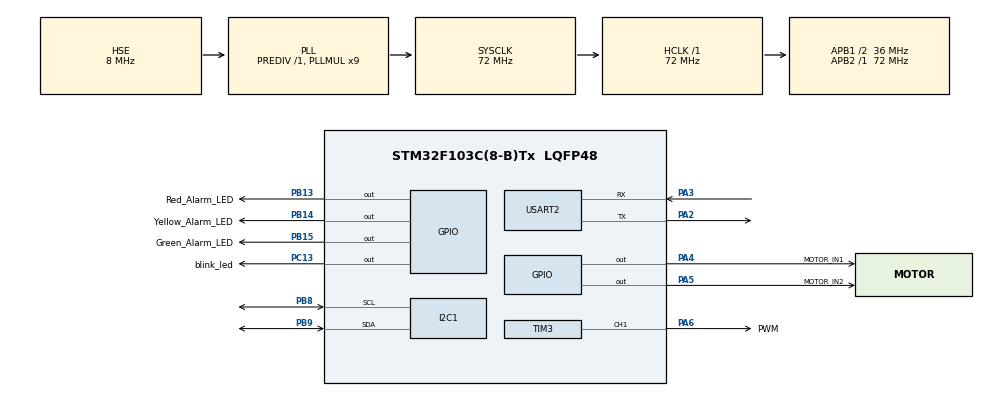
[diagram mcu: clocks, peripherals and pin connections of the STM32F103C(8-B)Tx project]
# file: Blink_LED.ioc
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Dma.Request0=USART2_RX
Dma.USART2_RX.0.Direction=DMA_PERIPH_TO_MEMORY
Dma.USART2_RX.0.Instance=DMA1_Channel6
Dma.USART2_RX.0.MemDataAlignment=DMA_MDATAALIGN_BYTE
Dma.USART2_RX.0.MemInc=DMA_MINC_ENABLE
Dma.USART2_RX.0.Mode=DMA_NORMAL
Dma.USART2_RX.0.PeriphDataAlignment=DMA_PDATAALIGN_BYTE
Dma.USART2_RX.0.PeriphInc=DMA_PINC_DISABLE
Dma.USART2_RX.0.Priority=DMA_PRIORITY_LOW
Mcu.Family=STM32F1
Mcu.Name=STM32F103C(8-B)Tx
Mcu.Package=LQFP48
NVIC.DMA1_Channel6_IRQn=true\:0\:0\:false\:false\:true\:false\:true\:true
NVIC.PriorityGroup=NVIC_PRIORITYGROUP_4
NVIC.USART2_IRQn=true\:2\:0\:true\:false\:true\:true\:true\:true
PA13.Mode=Serial_Wire
PA13.Signal=SYS_JTMS-SWDIO
PA14.Mode=Serial_Wire
PA14.Signal=SYS_JTCK-SWCLK
PA2.Mode=Asynchronous
PA2.Signal=USART2_TX
PA3.Mode=Asynchronous
PA3.Signal=USART2_RX
PA4.GPIO_Label=MOTOR_IN1
PA4.Signal=GPIO_Output
PA5.GPIO_Label=MOTOR_IN2
PA5.Signal=GPIO_Output
PA6.GPIO_Label=PWM
PA6.Signal=S_TIM3_CH1
PB13.GPIO_Label=Red_Alarm_LED
PB13.GPIO_PuPd=GPIO_NOPULL
PB13.PinState=GPIO_PIN_RESET
PB13.Signal=GPIO_Output
PB14.GPIO_Label=Yellow_Alarm_LED
PB14.GPIO_PuPd=GPIO_NOPULL
PB14.PinState=GPIO_PIN_RESET
PB14.Signal=GPIO_Output
PB15.GPIO_Label=Green_Alarm_LED
PB15.Signal=GPIO_Output
PB8.Mode=I2C
PB8.Signal=I2C1_SCL
PB9.Mode=I2C
PB9.Signal=I2C1_SDA
PC13-TAMPER-RTC.GPIO_Label=blink_led
PC13-TAMPER-RTC.PinState=GPIO_PIN_SET
PC13-TAMPER-RTC.Signal=GPIO_Output
PD0-OSC_IN.Mode=HSE-External-Oscillator
PD0-OSC_IN.Signal=RCC_OSC_IN
PD1-OSC_OUT.Mode=HSE-External-Oscillator
PD1-OSC_OUT.Signal=RCC_OSC_OUT
ProjectManager.HeapSize=0x200
ProjectManager.StackSize=0x400
ProjectManager.TargetToolchain=STM32CubeIDE
RCC.AHBFreq_Value=72000000
RCC.APB1CLKDivider=RCC_HCLK_DIV2
RCC.APB1Freq_Value=36000000
RCC.APB1TimFreq_Value=72000000
RCC.APB2Freq_Value=72000000
RCC.APB2TimFreq_Value=72000000
RCC.HCLKFreq_Value=72000000
RCC.PLLMUL=RCC_PLL_MUL9
RCC.PLLSourceVirtual=RCC_PLLSOURCE_HSE
RCC.SYSCLKFreq_VALUE=72000000
RCC.SYSCLKSource=RCC_SYSCLKSOURCE_PLLCLK
RCC.USBFreq_Value=72000000
SH.S_TIM3_CH1.0=TIM3_CH1,PWM Generation1 CH1
TIM2.Prescaler=71
TIM3.Channel-PWM\ Generation1\ CH1=TIM_CHANNEL_1
TIM3.Period=999
TIM3.Prescaler=719
USART2.VirtualMode=VM_ASYNC
VP_TIM2_VS_ClockSourceINT.Mode=Internal
VP_TIM3_VS_ClockSourceINT.Mode=Internal
board=custom

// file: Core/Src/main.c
/* USER CODE BEGIN Header */
/**
  ******************************************************************************
  * @file           : main.c
  * @brief          : Main program body
  ******************************************************************************
  * @attention
  *
  * <h2><center>&copy; Copyright (c) 2023 STMicroelectronics.
  * All rights reserved.</center></h2>
  *
  * This software component is licensed by ST under BSD 3-Clause license,
  * the "License"; You may not use this file except in compliance with the
  * License. You may obtain a copy of the License at:
  *                        opensource.org/licenses/BSD-3-Clause
  *
  ******************************************************************************
  */
/* USER CODE END Header */
#include "main.h"

/* USER CODE BEGIN Includes */
#include <string.h>
#include <stdio.h>
#include "dht.h"
#include "delay_timer.h"
#include "LiquidCrystal_I2C.h"
#include "uart_handle.h"
#include "dc_motor.h"

#include "handle.h"
#include "task.h"
/* USER CODE END Includes */

/* USER CODE BEGIN PM */
#define GPIO_PORT_DHT11 GPIOC
#define GPIO_PIN_DHT11 GPIO_PIN_15

/* USER CODE END PM */

I2C_HandleTypeDef hi2c1;

TIM_HandleTypeDef htim2;
TIM_HandleTypeDef htim3;

UART_HandleTypeDef huart2;
DMA_HandleTypeDef hdma_usart2_rx;

/* USER CODE BEGIN PV */

LiquidCrystal_I2C hlcd;
DHT_HandleTypeDef DHT11;
DC_Motor_HandleTypeDef MOTOR_1;

int8_t Temp_levels[NUMBER_LEVELS + 1];
uint8_t RHumi_levels[NUMBER_LEVELS + 1];

uint8_t Speed_Temp_mode[NUMBER_LEVELS] = {0};
uint8_t Speed_RHumi_mode[NUMBER_LEVELS] = {0};
//uint8_t Speed_Manual_mode = 0;	// %

MODE controll_mode = MANUAL_MODE;

volatile char Rx_data[RX_DATA_SIZE];
//uint8_t Rx_data_begin = 0;
//uint8_t Rx_data_end = 0;
/* USER CODE END PV */

void SystemClock_Config(void);
static void MX_GPIO_Init(void);
static void MX_DMA_Init(void);
static void MX_TIM2_Init(void);
static void MX_I2C1_Init(void);
static void MX_TIM3_Init(void);
static void MX_USART2_UART_Init(void);

/* USER CODE BEGIN 0 */
//uint8_t data_rx;
//char buff[RX_DATA_SIZE];
int16_t ret = 0;

uint32_t time = 0; //test time

void HW_init(int delay) {
	HAL_Delay(delay);
}

void (*task_point_array_1[]) () = {TASK_2, TASK_5, TASK_1, TASK_2, TASK_3, TASK_4, TASK_2, TASK_5, TASK_2};
const uint16_t tk1[] = {0,50,100,150,200,250,300,350,450};
void (*task_point_array_2[]) () = {TASK_2, TASK_5, TASK_2, TASK_2, TASK_5, TASK_2};
const uint16_t tk2[] = {0,50,150,300,350,450};
const uint16_t P = 6000; // f = 50 ms
const uint16_t p = 600;
const uint8_t n1 = 9;
const uint8_t n2 = 6;
static uint32_t i_1 = 0;
static uint32_t i_2 = 0;

//void HAL_UART_RxCpltCallback(UART_HandleTypeDef *huart) {
//
////	if (data_rx == 'a') {
////		HAL_GPIO_WritePin(LED_PIN_GPIO_Port, LED_PIN_Pin, GPIO_PIN_SET);
////	} else if (data_rx == 'b') {
////		HAL_GPIO_WritePin(LED_PIN_GPIO_Port, LED_PIN_Pin, GPIO_PIN_RESET);
////	}
//
//	HAL_UART_Receive_IT(&huart2, &data_rx, 1);
//}

//void HAL_UART_RxHalfCpltCallback(UART_HandleTypeDef *huart)
//{
//  HAL_GPIO_TogglePin (blink_led_GPIO_Port, blink_led_Pin);  // toggle PA0
//}
//
//void HAL_UART_RxCpltCallback(UART_HandleTypeDef *huart)
//{
//
//  HAL_UART_Receive_DMA(&huart2, (uint8_t *) Rx_data, RX_DATA_SIZE);
//  HAL_UART_Transmit(&huart2,(uint8_t* )Rx_data, strlen((char *)Rx_data), 30 );
//}

/* USER CODE END 0 */

int main(void)
{
  /* USER CODE BEGIN 1 */
	Temp_levels[0] = DHT11_MIN_TEMPERATURE;
	Temp_levels[NUMBER_LEVELS] = DHT11_MAX_TEMPERATURE;

	RHumi_levels[0] = DHT11_MIN_RELATIVE_HUMIDITY;
	RHumi_levels[NUMBER_LEVELS] = DHT11_MAX_RELATIVE_HUMIDITY;

  /* USER CODE END 1 */

  /* MCU Configuration--------------------------------------------------------*/

  /* Reset of all peripherals, Initializes the Flash interface and the Systick. */
  HAL_Init();

  /* Configure the system clock */
  SystemClock_Config();

  /* Initialize all configured peripherals */
  MX_GPIO_Init();
  MX_DMA_Init();
  MX_TIM2_Init();
  MX_I2C1_Init();
  MX_TIM3_Init();
  MX_USART2_UART_Init();
  /* USER CODE BEGIN 2 */

  HAL_TIM_PWM_Start(&htim3,TIM_CHANNEL_1);
  HAL_UART_Receive_DMA(&huart2, (uint8_t *)Rx_data, RX_DATA_SIZE);

  DHT_Init(&DHT11, &htim2, GPIO_PORT_DHT11, GPIO_PIN_DHT11);
  lcd_init(&hlcd, &hi2c1, LCD_ADDR_DEFAULT);
  DC_Motor_Init(&MOTOR_1, &htim3,TIM_CHANNEL_1, MOTOR_IN1_GPIO_Port, MOTOR_IN1_Pin, MOTOR_IN2_GPIO_Port, MOTOR_IN2_Pin);
  HW_init(2000);

  /* USER CODE END 2 */

  /* Infinite loop */
  /* USER CODE BEGIN WHILE */
  const uint32_t offset = uwTick;
  while (1)
  {
//	  time = HAL_GetTick();
//	  ret = DHT_ReadTempHum(&DHT11);
//	  encoder_cnt = htim1.Instance->CNT;
//	  if(ret) {
//		  sprintf(buff, " Error Code: %d\n Encoder Count = %d\n", ret, encoder_cnt);
//		  HAL_UART_Transmit(&huart2,(uint8_t* )buff, strlen(buff), 300 );
//
//	  } else {
//		  sprintf(buff, "Read OK\n Temp: %f\n Humi: %f Time: %ld\n", DHT11.Temp, DHT11.Humi, HAL_GetTick() - time);
//		  HAL_UART_Transmit(&huart2,(uint8_t* )buff, strlen(buff), 300 );
//
//		  sprintf(buff, " Encoder Count = %d\n", encoder_cnt);
//		  		  HAL_UART_Transmit(&huart2,(uint8_t* )buff, strlen(buff), 300 );
//
//		  sprintf(buff, " Raw Data: %d %d %d %d %d\n", DHT11.raw_data[0], DHT11.raw_data[1], DHT11.raw_data[2], DHT11.raw_data[3], DHT11.raw_data[4]);
//		  HAL_UART_Transmit(&huart2,(uint8_t* )buff, strlen(buff), 300 );
//	  }
//
//	  lcd_set_cursor(&hlcd, 0, 0);//(char)223,
////	  lcd_printf(&hlcd, "RH=%d.%1d%c T=%d.%1d%C", DHT11.raw_data[0], DHT11.raw_data[1],  (char)223,DHT11.raw_data[2], DHT11.raw_data[3] );
//	  lcd_printf(&hlcd, "RH=%d%% T=%d%c%C", DHT11.raw_data[0], DHT11.raw_data[2], (char)223 );
//	  lcd_set_cursor(&hlcd, 1,4);
//	  lcd_printf(&hlcd, "%02d/%02d/%02d", 12, 12, 12);
//
//	  HAL_GPIO_WritePin(GPIOA, GPIO_PIN_4, GPIO_PIN_RESET);
//	  HAL_GPIO_WritePin(GPIOA, GPIO_PIN_5, GPIO_PIN_SET);
////	  for(int i=0;i<1000;i=i+100)
////	    {
////	      __HAL_TIM_SetCompare(&htim3,TIM_CHANNEL_1,i);
////	      HAL_Delay(2000);
////	     }
//	  __HAL_TIM_SetCompare(&htim3,TIM_CHANNEL_1,999);
//	  TIM_DelayMs(&htim2, 2000);

//	  do {
//		  lcd_set_cursor(&hlcd, 0, 0);
//		  lcd_printf(&hlcd, "TEMPERATURE:%d%cC", 12, (char)223);
//		  lcd_set_cursor(&hlcd, 1, 0);
//		  lcd_printf(&hlcd, "R_HUMIDITY : %d%%", 95);
//		  HAL_Delay(2000);
//		  time = HAL_GetTick();
//		  lcd_clear_display(&hlcd);
//		  sprintf(buff, " TIME EXE: %ld\n", HAL_GetTick()-time);
//		  HAL_UART_Transmit(&huart2,(uint8_t* )buff, strlen(buff), 300 );
//
//		  uint32_t uart_time = HAL_GetTick();
//		  sprintf(buff, " As you can see above that when the control will\n");
//		  HAL_UART_Transmit(&huart2,(uint8_t* )buff, strlen(buff), 30 );
//		  sprintf(buff, " uart TIME EXE: %ld\n", HAL_GetTick()-uart_time);
//		  HAL_UART_Transmit(&huart2,(uint8_t* )buff, strlen(buff), 300 );
//		  HAL_Delay(1000);
//	  } while (0);

//	  do {
//		 int flag = 0;
//		 for (int8_t i = Rx_data_begin, cnt = 0; cnt < RX_DATA_SIZE; cnt ++, i++) {
//			if(Rx_data[i] == '\n') {
//				Rx_data_end = i;
//				flag = 1;	//
//				break;
//			}
//
//			if (i == RX_DATA_SIZE-1) {
//				i = -1;
//			}
//		}
//		if(flag) {
//			for (int8_t i = Rx_data_begin, cnt = 0, j = 0; cnt < RX_DATA_SIZE; cnt ++, i++, j++) {
//				buff[j] = Rx_data[i];
//				if(i == Rx_data_end) {
//					Rx_data[i] = 0;
//					buff[j+1] = '\0';
//					HAL_UART_Transmit(&huart2, (uint8_t *)buff, strlen(buff),30);
//
//					if (i == RX_DATA_SIZE-1) {
//						Rx_data_begin = 0;
//					} else {
//						Rx_data_begin = Rx_data_end + 1;
//					}
//					break;
//				}
//
//				if (i == RX_DATA_SIZE-1) {
//					i = -1;
//				}
//			 }
//			flag = 0;
//		}
//
//	 } while (0);

//	  do{
//		  ret = Check_Commad((char *)Rx_data, &Rx_data_begin, &Rx_data_end, RX_DATA_SIZE);
//		  if (ret == HANDLE_OK) {
//			  Handle_Command((char *)Rx_data, &Rx_data_begin, &Rx_data_end, RX_DATA_SIZE);
//		  }
//
//	  } while(0);

//	 HAL_Delay (5000);
//	 HAL_UART_DMAStop(&huart2);
//	 HAL_GPIO_WritePin(blink_led_GPIO_Port, blink_led_Pin, GPIO_PIN_SET);
//	 HAL_Delay (1000);
//	 if(Rx_data[RX_DATA_SIZE-1]) {
//		 HAL_UART_Receive_DMA(&huart2, (uint8_t *) Rx_data, RX_DATA_SIZE);
//		 HAL_GPIO_WritePin(blink_led_GPIO_Port, blink_led_Pin, GPIO_PIN_RESET);
//	 } //
//	  MOTOR_1.speed = 50;

//	  HAL_Delay (5000);
//	  TASK_2((char *)Rx_data);
//	  TASK_1();
//	  TASK_5();
//	  HAL_GPIO_WritePin(GPIOA, GPIO_PIN_4, 0);
//	  HAL_GPIO_WritePin(GPIOA, GPIO_PIN_5, 1);
//	  __HAL_TIM_SetCompare(&htim3,TIM_CHANNEL_1,999);
//	  TASK_3();
//	  TASK_4();
//	  HAL_Delay(2000);

//	  if (controll_mode == 2 || MOTOR_1.setSpeed > 50) {
//		HAL_GPIO_WritePin(GPIOC, GPIO_PIN_13, 0);
//	} else {
//		HAL_GPIO_WritePin(GPIOC, GPIO_PIN_13, 1);
//	}
//	  HAL_Delay(150);

	if ((uwTick-offset)%P < p) {
		if ((uwTick-offset) % p == tk1[i_1 % n1] ) {
			task_point_array_1[i_1 % n1]();
			i_1++;
		}
	} else {
		if ((uwTick-offset) % p == tk2[i_2 % n2] ) {
			task_point_array_2[i_2 % n2]();
			i_2++;
		}
	}

    /* USER CODE END WHILE */

  }
}

void SystemClock_Config(void)
{
  RCC_OscInitTypeDef RCC_OscInitStruct = {0};
  RCC_ClkInitTypeDef RCC_ClkInitStruct = {0};

  /** Initializes the RCC Oscillators according to the specified parameters
  * in the RCC_OscInitTypeDef structure.
  */
  RCC_OscInitStruct.OscillatorType = RCC_OSCILLATORTYPE_HSE;
  RCC_OscInitStruct.HSEState = RCC_HSE_ON;
  RCC_OscInitStruct.HSEPredivValue = RCC_HSE_PREDIV_DIV1;
  RCC_OscInitStruct.HSIState = RCC_HSI_ON;
  RCC_OscInitStruct.PLL.PLLState = RCC_PLL_ON;
  RCC_OscInitStruct.PLL.PLLSource = RCC_PLLSOURCE_HSE;
  RCC_OscInitStruct.PLL.PLLMUL = RCC_PLL_MUL9;
  if (HAL_RCC_OscConfig(&RCC_OscInitStruct) != HAL_OK)
  {
    Error_Handler();
  }

  /** Initializes the CPU, AHB and APB buses clocks
  */
  RCC_ClkInitStruct.ClockType = RCC_CLOCKTYPE_HCLK|RCC_CLOCKTYPE_SYSCLK
                              |RCC_CLOCKTYPE_PCLK1|RCC_CLOCKTYPE_PCLK2;
  RCC_ClkInitStruct.SYSCLKSource = RCC_SYSCLKSOURCE_PLLCLK;
  RCC_ClkInitStruct.AHBCLKDivider = RCC_SYSCLK_DIV1;
  RCC_ClkInitStruct.APB1CLKDivider = RCC_HCLK_DIV2;
  RCC_ClkInitStruct.APB2CLKDivider = RCC_HCLK_DIV1;

  if (HAL_RCC_ClockConfig(&RCC_ClkInitStruct, FLASH_LATENCY_2) != HAL_OK)
  {
    Error_Handler();
  }
}

static void MX_I2C1_Init(void)
{

  hi2c1.Instance = I2C1;
  hi2c1.Init.ClockSpeed = 100000;
  hi2c1.Init.DutyCycle = I2C_DUTYCYCLE_2;
  hi2c1.Init.OwnAddress1 = 0;
  hi2c1.Init.AddressingMode = I2C_ADDRESSINGMODE_7BIT;
  hi2c1.Init.DualAddressMode = I2C_DUALADDRESS_DISABLE;
  hi2c1.Init.OwnAddress2 = 0;
  hi2c1.Init.GeneralCallMode = I2C_GENERALCALL_DISABLE;
  hi2c1.Init.NoStretchMode = I2C_NOSTRETCH_DISABLE;
  if (HAL_I2C_Init(&hi2c1) != HAL_OK)
  {
    Error_Handler();
  }

}

static void MX_TIM2_Init(void)
{

  TIM_ClockConfigTypeDef sClockSourceConfig = {0};
  TIM_MasterConfigTypeDef sMasterConfig = {0};

  htim2.Instance = TIM2;
  htim2.Init.Prescaler = 71;
  htim2.Init.CounterMode = TIM_COUNTERMODE_UP;
  htim2.Init.Period = 65535;
  htim2.Init.ClockDivision = TIM_CLOCKDIVISION_DIV1;
  htim2.Init.AutoReloadPreload = TIM_AUTORELOAD_PRELOAD_DISABLE;
  if (HAL_TIM_Base_Init(&htim2) != HAL_OK)
  {
    Error_Handler();
  }
  sClockSourceConfig.ClockSource = TIM_CLOCKSOURCE_INTERNAL;
  if (HAL_TIM_ConfigClockSource(&htim2, &sClockSourceConfig) != HAL_OK)
  {
    Error_Handler();
  }
  sMasterConfig.MasterOutputTrigger = TIM_TRGO_RESET;
  sMasterConfig.MasterSlaveMode = TIM_MASTERSLAVEMODE_DISABLE;
  if (HAL_TIMEx_MasterConfigSynchronization(&htim2, &sMasterConfig) != HAL_OK)
  {
    Error_Handler();
  }

}

static void MX_TIM3_Init(void)
{

  TIM_ClockConfigTypeDef sClockSourceConfig = {0};
  TIM_MasterConfigTypeDef sMasterConfig = {0};
  TIM_OC_InitTypeDef sConfigOC = {0};

  htim3.Instance = TIM3;
  htim3.Init.Prescaler = 719;
  htim3.Init.CounterMode = TIM_COUNTERMODE_UP;
  htim3.Init.Period = 999;
  htim3.Init.ClockDivision = TIM_CLOCKDIVISION_DIV1;
  htim3.Init.AutoReloadPreload = TIM_AUTORELOAD_PRELOAD_DISABLE;
  if (HAL_TIM_Base_Init(&htim3) != HAL_OK)
  {
    Error_Handler();
  }
  sClockSourceConfig.ClockSource = TIM_CLOCKSOURCE_INTERNAL;
  if (HAL_TIM_ConfigClockSource(&htim3, &sClockSourceConfig) != HAL_OK)
  {
    Error_Handler();
  }
  if (HAL_TIM_PWM_Init(&htim3) != HAL_OK)
  {
    Error_Handler();
  }
  sMasterConfig.MasterOutputTrigger = TIM_TRGO_RESET;
  sMasterConfig.MasterSlaveMode = TIM_MASTERSLAVEMODE_DISABLE;
  if (HAL_TIMEx_MasterConfigSynchronization(&htim3, &sMasterConfig) != HAL_OK)
  {
    Error_Handler();
  }
  sConfigOC.OCMode = TIM_OCMODE_PWM1;
  sConfigOC.Pulse = 0;
  sConfigOC.OCPolarity = TIM_OCPOLARITY_HIGH;
  sConfigOC.OCFastMode = TIM_OCFAST_DISABLE;
  if (HAL_TIM_PWM_ConfigChannel(&htim3, &sConfigOC, TIM_CHANNEL_1) != HAL_OK)
  {
    Error_Handler();
  }
  HAL_TIM_MspPostInit(&htim3);

}

static void MX_USART2_UART_Init(void)
{

  huart2.Instance = USART2;
  huart2.Init.BaudRate = 115200;
  huart2.Init.WordLength = UART_WORDLENGTH_8B;
  huart2.Init.StopBits = UART_STOPBITS_1;
  huart2.Init.Parity = UART_PARITY_NONE;
  huart2.Init.Mode = UART_MODE_TX_RX;
  huart2.Init.HwFlowCtl = UART_HWCONTROL_NONE;
  huart2.Init.OverSampling = UART_OVERSAMPLING_16;
  if (HAL_UART_Init(&huart2) != HAL_OK)
  {
    Error_Handler();
  }

}

static void MX_DMA_Init(void)
{

  /* DMA controller clock enable */
  __HAL_RCC_DMA1_CLK_ENABLE();

  /* DMA interrupt init */
  /* DMA1_Channel6_IRQn interrupt configuration */
  HAL_NVIC_SetPriority(DMA1_Channel6_IRQn, 0, 0);
  HAL_NVIC_EnableIRQ(DMA1_Channel6_IRQn);

}

static void MX_GPIO_Init(void)
{
  GPIO_InitTypeDef GPIO_InitStruct = {0};

  /* GPIO Ports Clock Enable */
  __HAL_RCC_GPIOC_CLK_ENABLE();
  __HAL_RCC_GPIOD_CLK_ENABLE();
  __HAL_RCC_GPIOA_CLK_ENABLE();
  __HAL_RCC_GPIOB_CLK_ENABLE();

  /*Configure GPIO pin Output Level */
  HAL_GPIO_WritePin(blink_led_GPIO_Port, blink_led_Pin, GPIO_PIN_SET);

  /*Configure GPIO pin Output Level */
  HAL_GPIO_WritePin(GPIOA, MOTOR_IN1_Pin|MOTOR_IN2_Pin, GPIO_PIN_RESET);

  /*Configure GPIO pin Output Level */
  HAL_GPIO_WritePin(GPIOB, Red_Alarm_LED_Pin|Yellow_Alarm_LED_Pin|Green_Alarm_LED_Pin, GPIO_PIN_RESET);

  /*Configure GPIO pin : blink_led_Pin */
  GPIO_InitStruct.Pin = blink_led_Pin;
  GPIO_InitStruct.Mode = GPIO_MODE_OUTPUT_PP;
  GPIO_InitStruct.Pull = GPIO_NOPULL;
  GPIO_InitStruct.Speed = GPIO_SPEED_FREQ_LOW;
  HAL_GPIO_Init(blink_led_GPIO_Port, &GPIO_InitStruct);

  /*Configure GPIO pins : MOTOR_IN1_Pin MOTOR_IN2_Pin */
  GPIO_InitStruct.Pin = MOTOR_IN1_Pin|MOTOR_IN2_Pin;
  GPIO_InitStruct.Mode = GPIO_MODE_OUTPUT_PP;
  GPIO_InitStruct.Pull = GPIO_NOPULL;
  GPIO_InitStruct.Speed = GPIO_SPEED_FREQ_LOW;
  HAL_GPIO_Init(GPIOA, &GPIO_InitStruct);

  /*Configure GPIO pins : Red_Alarm_LED_Pin Yellow_Alarm_LED_Pin Green_Alarm_LED_Pin */
  GPIO_InitStruct.Pin = Red_Alarm_LED_Pin|Yellow_Alarm_LED_Pin|Green_Alarm_LED_Pin;
  GPIO_InitStruct.Mode = GPIO_MODE_OUTPUT_PP;
  GPIO_InitStruct.Pull = GPIO_NOPULL;
  GPIO_InitStruct.Speed = GPIO_SPEED_FREQ_LOW;
  HAL_GPIO_Init(GPIOB, &GPIO_InitStruct);

}

void Error_Handler(void)
{
  __disable_irq();
  while (1)
  {
  }
}
